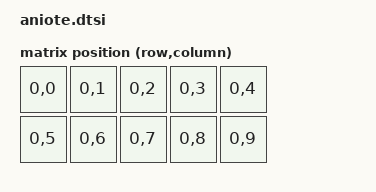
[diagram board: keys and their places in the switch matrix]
/*
 * Copyright (c) 2020 The ZMK Contributors
 *
 * SPDX-License-Identifier: MIT
 */

#include <dt-bindings/zmk/matrix_transform.h>
#include <physical_layouts.dtsi>

/ {

  chosen {
    zmk,kscan = &kscan0;
    wakeup-source;
    zmk,physical-layout = &default_layout;
  };

default_transform:
  keymap_transform_0 {
    compatible = "zmk,matrix-transform";
    columns = <10>;
    rows = <1>;
    map = < RC(0, 0) RC(0, 1) RC(0, 2) RC(0, 3) RC(0, 4)   // First  row
            RC(0, 5) RC(0, 6) RC(0, 7) RC(0, 8) RC(0, 9) >;// Second row
  };

kscan0:
  kscan {
    compatible = "zmk,kscan-gpio-direct";
    wakeup-source;
  };

default_layout:
  default_layout {
    compatible = "zmk,physical-layout";
    display-name = "Default Layout";
    transform = <&default_transform>;
    keys = //                     w   h    x    y     rot    rx    ry
        // row 1
        <&key_physical_attrs    100 100  100    0       0     0     0>, //
        <&key_physical_attrs    100 100  200    0       0     0     0>, //
        <&key_physical_attrs    100 100  300    0       0     0     0>, //
        <&key_physical_attrs    100 100  400    0       0     0     0>, //
        <&key_physical_attrs    100 100  500    0       0     0     0>, //
        // row 2
        <&key_physical_attrs    100 100  100  100       0     0     0>, //
        <&key_physical_attrs    100 100  200  100       0     0     0>, //
        <&key_physical_attrs    100 100  300  100       0     0     0>, //
        <&key_physical_attrs    100 100  400  100       0     0     0>, //
        <&key_physical_attrs    100 100  500  100       0     0     0>  //
        ;
  };
};
